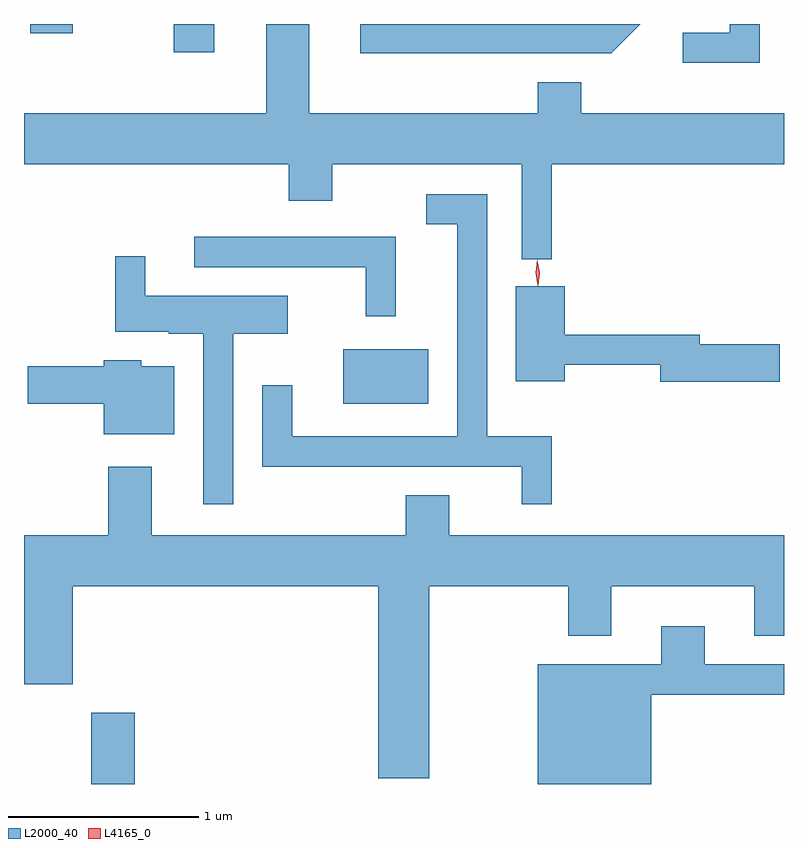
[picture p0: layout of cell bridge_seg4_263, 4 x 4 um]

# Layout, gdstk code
import gdstk
lib = gdstk.Library(unit=1e-6, precision=1e-09)
def R(c, l, rs):  # rectangles x0, y0, x1, y1
    for r in rs: c.add(gdstk.rectangle(r[:2], r[2:], *l))
def P(c, l, *ps):  # polygons
    for p in ps: c.add(gdstk.Polygon(p, *l))
L2000_40 = (2000, 40)
L4165_0 = (4165, 0)

bridge_seg4_263 = lib.new_cell('bridge_seg4_263')
R(bridge_seg4_263, L2000_40, [(728.791,1329.215,729.019,1329.589), (730.116,1331.216,730.564,1331.504), (729.226,1333.066,729.439,1333.215), (728.471,1333.166,728.694,1333.215)])
P(bridge_seg4_263, L2000_40, [(732.309,1333.215),(732.151,1333.215),(732.151,1333.169),(731.903,1333.169),(731.903,1333.011),(732.309,1333.011)],
  [(731.681,1333.215),(730.206,1333.215),(730.206,1333.061),(731.527,1333.061)],
  [(731.214,1332.476),(732.437,1332.476),(732.437,1332.744),(731.369,1332.744),(731.369,1332.909),(731.141,1332.909),(731.141,1332.744),(729.939,1332.744),(729.939,1333.215),(729.711,1333.215),(729.711,1332.744),(728.437,1332.744),(728.437,1332.476),(729.831,1332.476),(729.831,1332.286),(730.059,1332.286),(730.059,1332.476),(731.056,1332.476),(731.056,1331.978),(731.214,1331.978)],
  [(731.214,1331.044),(730.874,1331.044),(730.874,1332.319),(730.553,1332.319),(730.553,1332.161),(730.716,1332.161),(730.716,1331.044),(729.849,1331.044),(729.849,1331.313),(729.691,1331.313),(729.691,1330.886),(731.056,1330.886),(731.056,1330.688),(731.214,1330.688)],
  [(730.394,1332.094),(729.333,1332.094),(729.333,1331.936),(730.236,1331.936),(730.236,1331.678),(730.394,1331.678)],
  [(729.539,1331.586),(729.824,1331.586),(729.824,1331.784),(729.074,1331.784),(729.074,1331.993),(728.916,1331.993),(728.916,1331.596),(729.2,1331.596),(729.2,1331.586),(729.381,1331.586),(729.381,1330.688),(729.539,1330.688)],
  [(732.414,1331.529),(731.994,1331.529),(731.994,1331.579),(731.284,1331.579),(731.284,1331.834),(731.026,1331.834),(731.026,1331.336),(731.284,1331.336),(731.284,1331.421),(731.786,1331.421),(731.786,1331.331),(732.414,1331.331)],
  [(729.229,1331.414),(729.054,1331.414),(729.054,1331.444),(728.856,1331.444),(728.856,1331.414),(728.456,1331.414),(728.456,1331.216),(728.856,1331.216),(728.856,1331.056),(729.229,1331.056)],
  [(730.569,1330.256),(731.301,1330.256),(731.301,1329.996),(731.529,1329.996),(731.529,1330.256),(732.281,1330.256),(732.281,1329.996),(732.437,1329.996),(732.437,1330.524),(730.674,1330.524),(730.674,1330.734),(730.446,1330.734),(730.446,1330.524),(729.109,1330.524),(729.109,1330.884),(728.881,1330.884),(728.881,1330.524),(728.437,1330.524),(728.437,1329.741),(728.694,1329.741),(728.694,1330.256),(730.301,1330.256),(730.301,1329.246),(730.569,1329.246)],
  [(731.739,1329.686),(732.437,1329.686),(732.437,1329.844),(732.019,1329.844),(732.019,1330.044),(731.791,1330.044),(731.791,1329.844),(731.141,1329.844),(731.141,1329.215),(731.739,1329.215)])
P(bridge_seg4_263, L4165_0, [(731.141,1331.838),(731.13,1331.906),(731.138,1331.975),(731.139,1331.975),(731.139,1331.975),(731.15,1331.907),(731.142,1331.838),(731.142,1331.838)],
  [(731.144,1331.84),(731.143,1331.841),(731.131,1331.906),(731.138,1331.972),(731.139,1331.972),(731.139,1331.972),(731.152,1331.907),(731.144,1331.841)])

lib.write_gds('bridge_seg4_263.gds')
